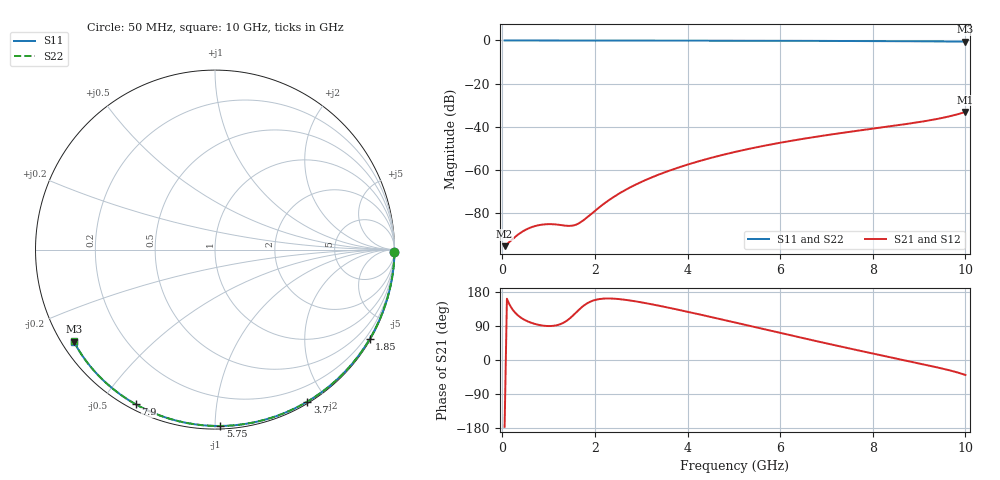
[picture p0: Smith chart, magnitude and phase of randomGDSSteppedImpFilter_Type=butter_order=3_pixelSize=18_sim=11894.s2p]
! freq	dB(S11)	phase(S11)	dB(S12)	phase(S12)
!  dB(S21)	phase(S21)	dB(S22)	phase(S22)
!S-par simulation data
#  GHz  S  DB  R 50
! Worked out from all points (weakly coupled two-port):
!   200 points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, 50 MHz to 10 GHz, reference 50 ohm
!   highest |S21| = -33.08 dB at 10 GHz (marker M1); lowest = -95.1 dB at 50 MHz (marker M2)
!   lowest |S11| = -0.6 dB at 10 GHz (marker M3), VSWR 31.36, Z = 1.73 - j14.8 ohm
!   |S11| at or under -10 dB: nowhere
!   |S22| runs from -0.6 to 0.0 dB; largest |S21 - S12| = 0
!   S11 on the Smith chart (normalised r, x): 50 MHz: open; 1.85 GHz: 0.03, -3.72; 3.7 GHz: 0.02, -1.78; 5.75 GHz: 0.02, -1.03; 7.9 GHz: 0.02, -0.61; 10 GHz: 0.03, -0.30
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0.05  -0.00 -0.8  -95.13 -176.5  -95.13 -176.5  -0.00 -0.8
0.45  -0.01 -7.4  -88.20 108.0  -88.20 108.0  -0.01 -7.4
0.9  -0.02 -14.8  -85.05 90.4  -85.05 90.4  -0.02 -14.8
1.75  -0.04 -28.5  -83.20 142.8  -83.20 142.8  -0.04 -28.5
1.85  -0.04 -30.1  -81.49 150.8  -81.49 150.8  -0.04 -30.1
1.9  -0.04 -30.9  -80.59 153.9  -80.59 153.9  -0.04 -30.9
1.95  -0.04 -31.7  -79.68 156.3  -79.68 156.3  -0.04 -31.7
2.3  -0.05 -37.2  -73.88 162.4  -73.88 162.4  -0.05 -37.3
2.65  -0.05 -42.7  -69.22 158.9  -69.22 158.9  -0.05 -42.7
3  -0.06 -48.1  -65.45 152.2  -65.45 152.2  -0.06 -48.2
3.4  -0.07 -54.2  -61.84 142.9  -61.84 142.9  -0.07 -54.3
3.7  -0.08 -58.8  -59.51 135.2  -59.51 135.2  -0.08 -58.8
4.35  -0.10 -68.4  -55.21 117.8  -55.21 117.8  -0.10 -68.4
5.05  -0.12 -78.4  -51.43 98.3  -51.43 98.3  -0.12 -78.5
5.75  -0.15 -88.2  -48.30 78.5  -48.30 78.5  -0.15 -88.3
6.7  -0.20 -101.2  -44.79 52.1  -44.79 52.1  -0.20 -101.2
7.3  -0.23 -109.2  -42.86 35.7  -42.86 35.7  -0.23 -109.2
7.9  -0.28 -117.2  -41.07 19.7  -41.07 19.7  -0.28 -117.2
8.35  -0.32 -123.1  -39.76 7.8  -39.76 7.8  -0.32 -123.2
9.35  -0.43 -136.9  -36.46 -18.4  -36.46 -18.4  -0.43 -136.9
9.7  -0.49 -142.1  -34.86 -28.6  -34.86 -28.6  -0.49 -142.1
10  -0.55 -146.9  -33.08 -39.6  -33.08 -39.6  -0.55 -147.0
